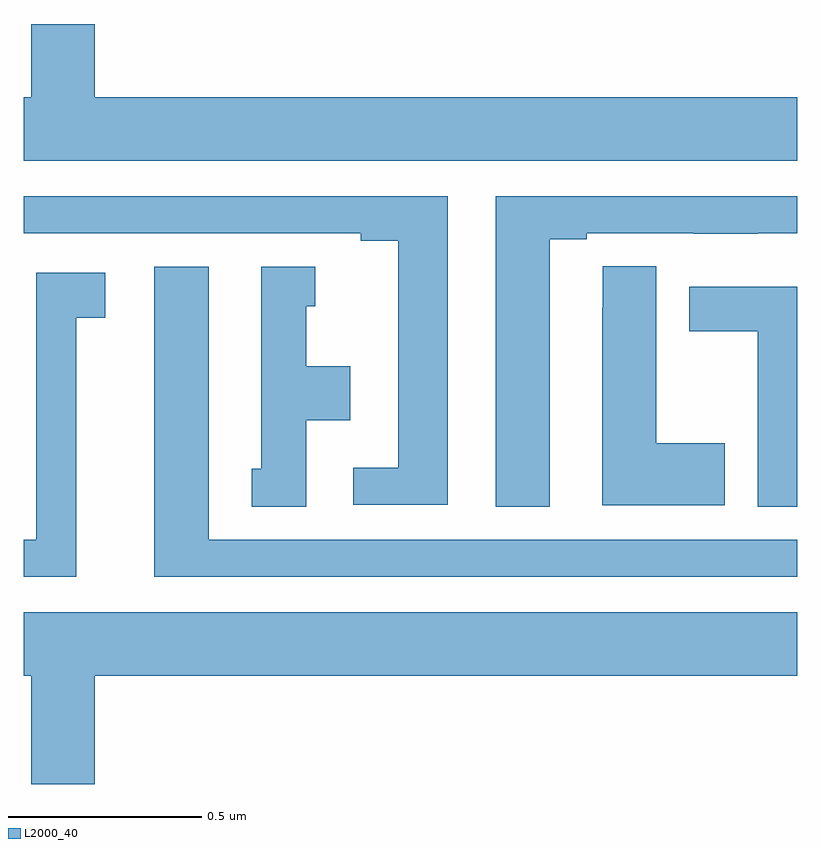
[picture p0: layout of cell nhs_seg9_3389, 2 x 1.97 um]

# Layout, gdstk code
import gdstk
lib = gdstk.Library(unit=1e-6, precision=1e-09)
def P(c, l, *ps):  # polygons
    for p in ps: c.add(gdstk.Polygon(p, *l))
L2000_40 = (2000, 40)

nhs_seg9_3389 = lib.new_cell('nhs_seg9_3389')
P(nhs_seg9_3389, L2000_40, [(155,1171.276),(153.184,1171.276),(153.184,1171.465),(153.02,1171.465),(153.02,1171.276),(153,1171.276),(153,1171.112),(155,1171.112)],
  [(154.096,1171.02),(153,1171.02),(153,1170.924),(153.872,1170.924),(153.872,1170.904),(153.968,1170.904),(153.968,1170.318),(153.852,1170.318),(153.852,1170.222),(154.096,1170.222)],
  [(154.36,1170.909),(154.456,1170.909),(154.456,1170.924),(154.732,1170.924),(154.732,1170.923),(154.898,1170.923),(154.898,1170.924),(155,1170.924),(155,1171.02),(154.22,1171.02),(154.22,1170.217),(154.36,1170.217)],
  [(154.813,1170.381),(154.636,1170.381),(154.636,1170.839),(154.497,1170.839),(154.497,1170.731),(154.496,1170.731),(154.496,1170.221),(154.813,1170.221)],
  [(153.73,1170.44),(153.844,1170.44),(153.844,1170.58),(153.73,1170.58),(153.73,1170.735),(153.754,1170.735),(153.754,1170.838),(153.614,1170.838),(153.614,1170.315),(153.59,1170.315),(153.59,1170.217),(153.73,1170.217)],
  [(155,1170.132),(153.478,1170.132),(153.478,1170.838),(153.338,1170.838),(153.338,1170.036),(155,1170.036)],
  [(153.136,1170.706),(153.211,1170.706),(153.211,1170.822),(153.032,1170.822),(153.032,1170.132),(153,1170.132),(153,1170.036),(153.136,1170.036)],
  [(155,1170.786),(154.721,1170.786),(154.721,1170.67),(154.898,1170.67),(154.898,1170.217),(155,1170.217)],
  [(153.184,1169.78),(155,1169.78),(155,1169.944),(153,1169.944),(153,1169.78),(153.02,1169.78),(153.02,1169.5),(153.184,1169.5)])

lib.write_gds('nhs_seg9_3389.gds')
